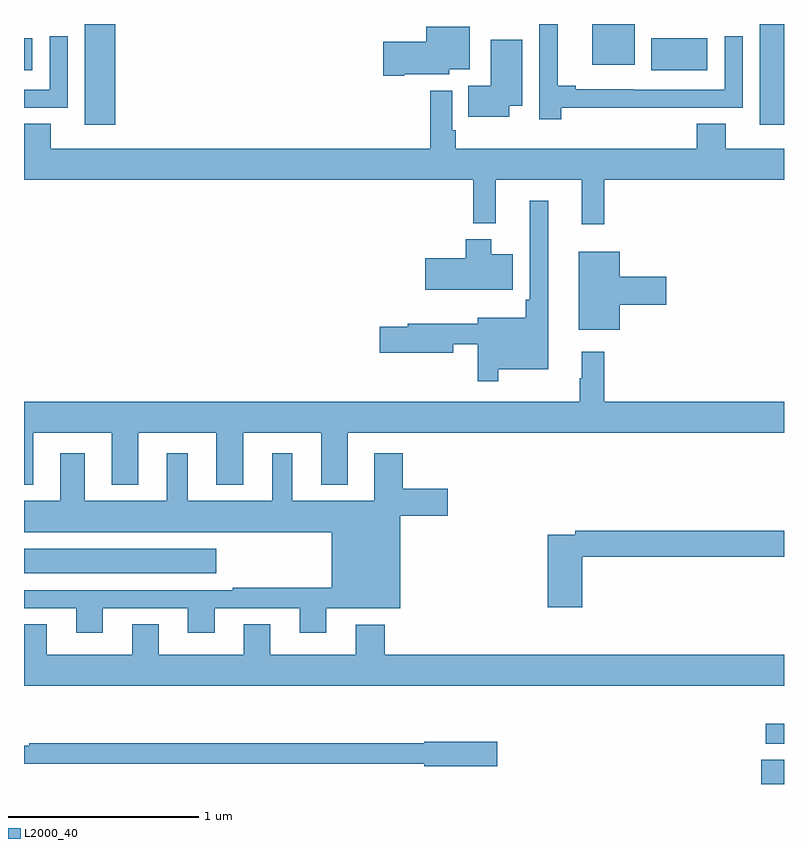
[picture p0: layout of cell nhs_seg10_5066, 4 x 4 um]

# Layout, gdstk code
import gdstk
lib = gdstk.Library(unit=1e-6, precision=1e-09)
def R(c, l, rs):  # rectangles x0, y0, x1, y1
    for r in rs: c.add(gdstk.rectangle(r[:2], r[2:], *l))
def P(c, l, *ps):  # polygons
    for p in ps: c.add(gdstk.Polygon(p, *l))
L2000_40 = (2000, 40)

nhs_seg10_5066 = lib.new_cell('nhs_seg10_5066')
R(nhs_seg10_5066, L2000_40, [(408.881,1266.5,409,1266.628), (408.903,1266.713,409,1266.817), (405,1267.61,406.012,1267.738), (405.32,1269.969,405.479,1270.5), (408.872,1269.969,409,1270.5), (405,1270.256,405.043,1270.426), (408.302,1270.256,408.595,1270.426), (407.99,1270.286,408.214,1270.5)])
P(nhs_seg10_5066, L2000_40, [(407.828,1270.058),(408.458,1270.058),(408.458,1270.059),(408.783,1270.059),(408.783,1270.435),(408.687,1270.435),(408.687,1270.155),(408.206,1270.155),(408.206,1270.156),(407.905,1270.156),(407.905,1270.175),(407.81,1270.175),(407.81,1270.5),(407.712,1270.5),(407.712,1269.999),(407.828,1269.999)],
  [(407.002,1270.235),(407.238,1270.235),(407.238,1270.262),(407.347,1270.262),(407.347,1270.486),(407.117,1270.486),(407.117,1270.406),(406.89,1270.406),(406.89,1270.228),(407.002,1270.228)],
  [(405.231,1270.435),(405.135,1270.435),(405.135,1270.155),(405,1270.155),(405,1270.059),(405.231,1270.059)],
  [(407.554,1270.07),(407.623,1270.07),(407.623,1270.418),(407.456,1270.418),(407.456,1270.174),(407.338,1270.174),(407.338,1270.013),(407.554,1270.013)],
  [(407.253,1269.94),(407.253,1270.15),(407.137,1270.15),(407.137,1269.844),(405.142,1269.844),(405.142,1269.974),(405,1269.974),(405,1269.68),(407.365,1269.68),(407.365,1269.452),(407.483,1269.452),(407.483,1269.68),(407.936,1269.68),(407.936,1269.447),(408.053,1269.447),(408.053,1269.68),(409,1269.68),(409,1269.844),(408.694,1269.844),(408.694,1269.974),(408.542,1269.974),(408.542,1269.844),(407.273,1269.844),(407.273,1269.94)],
  [(407.497,1268.684),(407.758,1268.684),(407.758,1269.571),(407.661,1269.571),(407.661,1269.049),(407.641,1269.049),(407.641,1268.953),(407.387,1268.953),(407.387,1268.923),(407.021,1268.923),(407.021,1268.906),(406.872,1268.906),(406.872,1268.771),(407.26,1268.771),(407.26,1268.814),(407.388,1268.814),(407.388,1268.619),(407.497,1268.619)],
  [(407.572,1269.289),(407.458,1269.289),(407.458,1269.367),(407.324,1269.367),(407.324,1269.267),(407.112,1269.267),(407.112,1269.101),(407.572,1269.101)],
  [(408.136,1269.023),(408.379,1269.023),(408.379,1269.17),(408.136,1269.17),(408.136,1269.301),(407.921,1269.301),(407.921,1268.891),(408.136,1268.891)],
  [(405.049,1268.348),(405.461,1268.348),(405.461,1268.075),(405.601,1268.075),(405.601,1268.348),(406.013,1268.348),(406.013,1268.075),(406.153,1268.075),(406.153,1268.348),(406.565,1268.348),(406.565,1268.075),(406.705,1268.075),(406.705,1268.348),(409,1268.348),(409,1268.512),(408.053,1268.512),(408.053,1268.776),(407.936,1268.776),(407.936,1268.636),(407.925,1268.636),(407.925,1268.512),(405,1268.512),(405,1268.075),(405.049,1268.075)],
  [(405.415,1267.425),(405.863,1267.425),(405.863,1267.296),(406.003,1267.296),(406.003,1267.425),(406.451,1267.425),(406.451,1267.296),(406.591,1267.296),(406.591,1267.424),(406.981,1267.424),(406.981,1267.913),(407.23,1267.913),(407.23,1268.055),(406.994,1268.055),(406.994,1268.242),(406.844,1268.242),(406.844,1267.99),(406.411,1267.99),(406.411,1268.242),(406.307,1268.242),(406.307,1267.99),(405.862,1267.99),(405.862,1268.242),(405.752,1268.242),(405.752,1267.99),(405.319,1267.99),(405.319,1268.242),(405.191,1268.242),(405.191,1267.99),(405,1267.99),(405,1267.826),(406.619,1267.826),(406.619,1267.534),(406.099,1267.534),(406.099,1267.521),(405,1267.521),(405,1267.425),(405.275,1267.425),(405.275,1267.296),(405.415,1267.296)],
  [(407.939,1267.696),(409,1267.696),(409,1267.832),(407.902,1267.832),(407.902,1267.812),(407.756,1267.812),(407.756,1267.431),(407.939,1267.431)],
  [(409,1267.18),(406.898,1267.18),(406.898,1267.339),(406.745,1267.339),(406.745,1267.18),(406.297,1267.18),(406.297,1267.34),(406.157,1267.34),(406.157,1267.18),(405.709,1267.18),(405.709,1267.34),(405.569,1267.34),(405.569,1267.18),(405.121,1267.18),(405.121,1267.34),(405,1267.34),(405,1267.016),(409,1267.016)],
  [(407.491,1266.723),(407.106,1266.723),(407.106,1266.715),(405.028,1266.715),(405.028,1266.702),(405,1266.702),(405,1266.606),(407.106,1266.606),(407.106,1266.593),(407.491,1266.593)])

lib.write_gds('nhs_seg10_5066.gds')
